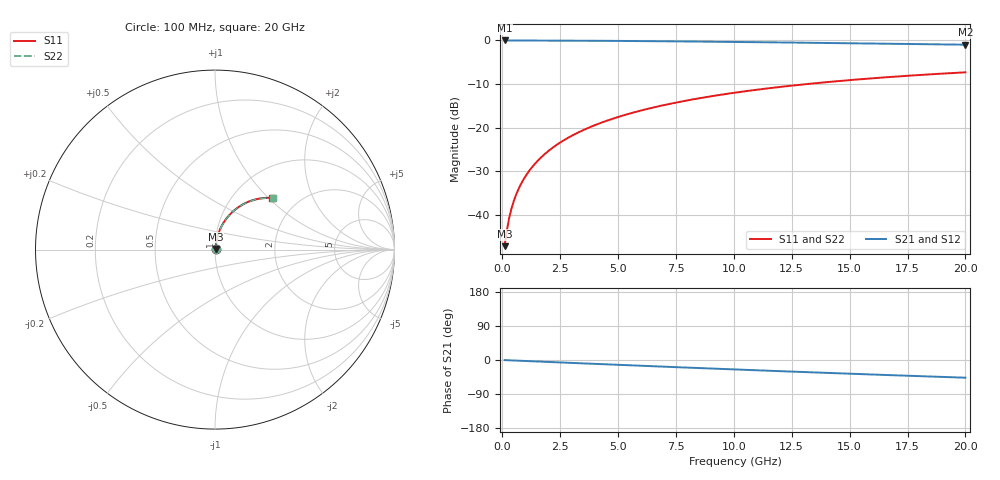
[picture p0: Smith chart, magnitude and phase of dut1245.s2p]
! Touchstone file exported from HFSS 2026.1.0
!  File:  C:/ffzhzh/LocalFiles/Ansys_Project_Files/temp_train_TMRDL_1245_1783163723_22436.aedt
!  Generated:  07:16:38 PM Jul  4, 2026
!  Design:  TMRDL
!  Project:  temp_train_TMRDL_1245_1783163723_22436
! Variables:
!  h_bsmrdl = 2um
!  h_ox = 20um
!  h_rdl = 5um
!  h_sub = 80um
!  h_tmrdl = 3.6um
!  h_tsv = 80um
!  h_via = 3um
!  l_bsmrdl = 300um
!  l_sub = 1083.37um
!  l_tmrdl = 683.37um
!  m_sub = 200um
!  pitch = 51.05um
!  r_tsv = 6um
!  s_tmrdl = 10um
!  w_bsmrdl = 18um
!  w_sub = 500um
!  w_tmrdl = 21.83um
!  x_tsv_center1 = 694.285um
!  x_tsv_center2 = 1012.285um
!  x_tsv_center3 = 1717.485um
!  x_tsv_center4 = 2035.485um
!  x_tsv_center5 = 2740.685um
!  x_tsv_center6 = 3058.685um
# GHz S MA R 50.000000
! Terminal data exported
! Port[1] = TM_RDL1_1_T1
! Port[2] = TM_RDL1_1_T2
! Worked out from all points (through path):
!   200 points, 100 MHz to 20 GHz, reference 50 ohm
!   highest |S21| = -0.03 dB at 100 MHz (marker M1); lowest = -1.0 dB at 20 GHz (marker M2)
!   group delay of S21, straight-line fit = 6.5 ps
!   lowest |S11| = -47.1 dB at 100 MHz (marker M3), VSWR 1.01, Z = 50.3 + j0.296 ohm
!   |S11| at or under -10 dB: start of sweep to 13.17 GHz
!   |S22| runs from -47.1 to -7.3 dB; largest |S21 - S12| = 3.3e-15
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0.1  0.004403 41.8  0.9967 -0.3  0.9967 -0.3  0.004403 41.8
! Gamma 0 0 0 0
! Port Impedance 50 0 50 0
0.2  0.006756 59.1  0.9966 -0.5  0.9966 -0.5  0.006757 59.1
0.3  0.009338 66.7  0.9964 -0.8  0.9964 -0.8  0.009339 66.7
0.4  0.01195 70.8  0.9962 -1.1  0.9962 -1.1  0.01195 70.8
0.5  0.01457 73.4  0.9961 -1.3  0.9961 -1.3  0.01457 73.4
0.6  0.01719 75.2  0.9959 -1.6  0.9959 -1.6  0.01719 75.2
0.8  0.02246 77.4  0.9957 -2.1  0.9957 -2.1  0.02246 77.4
1.1  0.0304 79.2  0.9954 -2.9  0.9954 -2.9  0.0304 79.2
1.5  0.04105 80.0  0.9949 -3.9  0.9949 -3.9  0.04105 80.0
1.8  0.04904 80.1  0.9944 -4.6  0.9944 -4.6  0.04905 80.1
2.1  0.05703 80.0  0.9938 -5.4  0.9938 -5.4  0.05703 79.9
2.7  0.07295 79.2  0.9925 -6.9  0.9925 -6.9  0.07295 79.2
3.5  0.09397 77.8  0.9903 -9.0  0.9903 -9.0  0.09397 77.8
4.2  0.1121 76.4  0.988 -10.7  0.988 -10.7  0.1121 76.3
5  0.1325 74.6  0.985 -12.7  0.985 -12.7  0.1326 74.6
5.9  0.1551 72.6  0.9812 -15.0  0.9812 -15.0  0.1551 72.5
6.8  0.1771 70.5  0.9769 -17.2  0.9769 -17.2  0.1771 70.4
8.3  0.2125 67.0  0.969 -20.8  0.969 -20.8  0.2125 66.9
10.1  0.2529 62.9  0.9584 -25.1  0.9584 -25.1  0.2529 62.8
13.4  0.3206 55.6  0.937 -32.6  0.937 -32.6  0.3206 55.5
16.7  0.3798 48.6  0.9141 -39.9  0.9141 -39.9  0.3798 48.5
20  0.4303 41.9  0.8914 -46.7  0.8914 -46.7  0.4303 41.7
